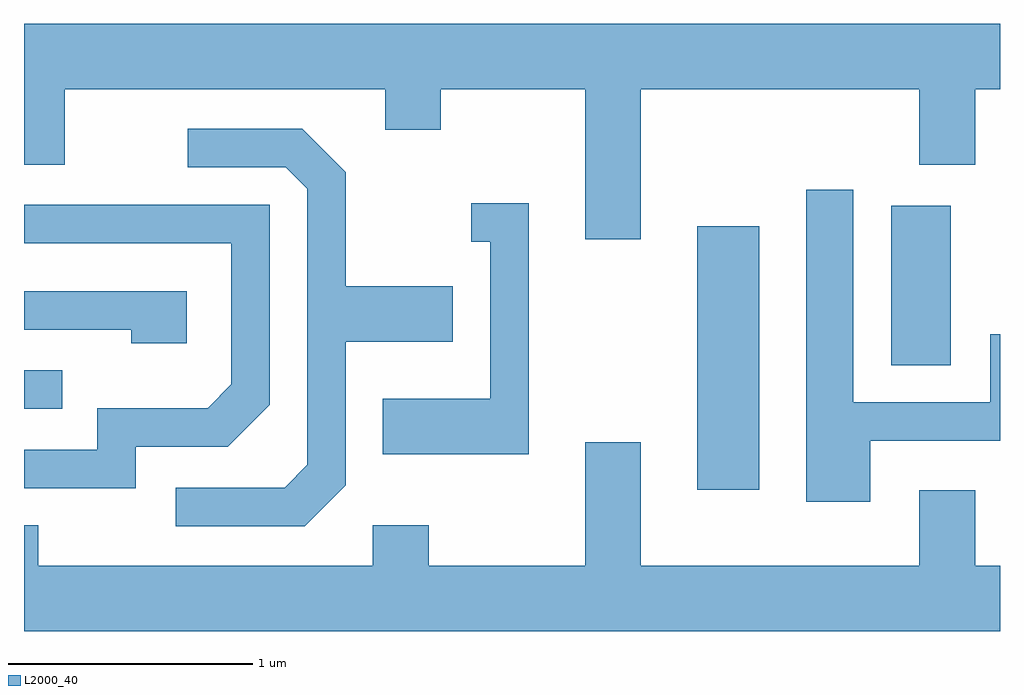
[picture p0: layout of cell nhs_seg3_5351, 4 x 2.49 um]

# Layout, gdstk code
import gdstk
lib = gdstk.Library(unit=1e-6, precision=1e-09)
def R(c, l, rs):  # rectangles x0, y0, x1, y1
    for r in rs: c.add(gdstk.rectangle(r[:2], r[2:], *l))
def P(c, l, *ps):  # polygons
    for p in ps: c.add(gdstk.Polygon(p, *l))
L2000_40 = (2000, 40)

nhs_seg3_5351 = lib.new_cell('nhs_seg3_5351')
R(nhs_seg3_5351, L2000_40, [(344.371,1219.836,344.624,1220.914), (341.611,1220.166,341.768,1220.324), (345.166,1220.346,345.409,1220.999)])
P(nhs_seg3_5351, L2000_40, [(344.139,1221.476),(345.281,1221.476),(345.281,1221.166),(345.509,1221.166),(345.509,1221.476),(345.611,1221.476),(345.611,1221.744),(341.611,1221.744),(341.611,1221.166),(341.779,1221.166),(341.779,1221.476),(343.091,1221.476),(343.091,1221.311),(343.319,1221.311),(343.319,1221.476),(343.911,1221.476),(343.911,1220.861),(344.139,1220.861)],
  [(342.929,1219.854),(342.929,1220.441),(343.369,1220.441),(343.369,1220.669),(342.929,1220.669),(342.929,1221.137),(342.752,1221.314),(342.283,1221.314),(342.283,1221.156),(342.684,1221.156),(342.771,1221.069),(342.771,1219.937),(342.679,1219.844),(342.233,1219.844),(342.233,1219.686),(342.762,1219.686)],
  [(345.079,1220.036),(345.611,1220.036),(345.611,1220.473),(345.571,1220.473),(345.571,1220.194),(345.009,1220.194),(345.009,1221.064),(344.816,1221.064),(344.816,1219.786),(345.079,1219.786)],
  [(343.679,1221.009),(343.443,1221.009),(343.443,1220.851),(343.521,1220.851),(343.521,1220.209),(343.081,1220.209),(343.081,1219.981),(343.679,1219.981)],
  [(342.069,1220.011),(342.447,1220.011),(342.619,1220.184),(342.619,1221.004),(341.611,1221.004),(341.611,1220.846),(342.461,1220.846),(342.461,1220.267),(342.364,1220.169),(341.911,1220.169),(341.911,1219.999),(341.611,1219.999),(341.611,1219.841),(342.069,1219.841)],
  [(342.279,1220.649),(341.611,1220.649),(341.611,1220.491),(342.051,1220.491),(342.051,1220.436),(342.279,1220.436)],
  [(345.611,1219.524),(345.509,1219.524),(345.509,1219.834),(345.281,1219.834),(345.281,1219.524),(344.139,1219.524),(344.139,1220.029),(343.911,1220.029),(343.911,1219.524),(343.269,1219.524),(343.269,1219.689),(343.041,1219.689),(343.041,1219.524),(341.669,1219.524),(341.669,1219.689),(341.611,1219.689),(341.611,1219.256),(345.611,1219.256)])

lib.write_gds('nhs_seg3_5351.gds')
